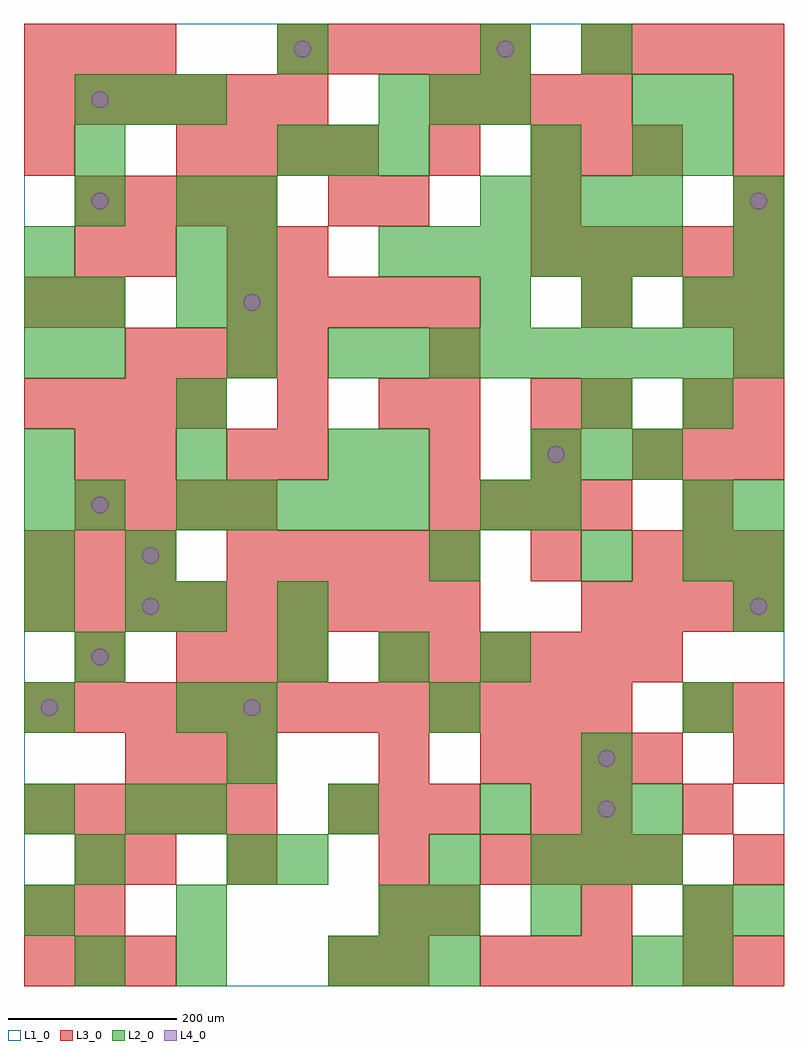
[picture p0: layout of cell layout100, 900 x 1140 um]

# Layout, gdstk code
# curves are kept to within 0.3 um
import gdstk
lib = gdstk.Library(unit=1e-6, precision=1e-09)
def R(c, l, rs):  # rectangles x0, y0, x1, y1
    for r in rs: c.add(gdstk.rectangle(r[:2], r[2:], *l))
def A(c, l, x, y, w, h, nx, ny, dx, dy):  # array of equal rectangles
    R(c, l, [(x+i*dx, y+j*dy, x+i*dx+w, y+j*dy+h) for i in range(nx) for j in range(ny)])
def P(c, l, *ps):  # polygons
    for p in ps: c.add(gdstk.Polygon(p, *l))
L1_0 = (1, 0)
L2_0 = (2, 0)
L3_0 = (3, 0)
L4_0 = (4, 0)

layout100 = lib.new_cell('layout100')
R(layout100, L1_0, [(0,0,900,1140)])
A(layout100, L2_0, 360, 0, 60, 60, 3, 1, 60, 0)
A(layout100, L2_0, 0, 60, 60, 60, 1, 4, 0, 120)
A(layout100, L2_0, 480, 120, 60, 60, 1, 3, 0, 180)
A(layout100, L2_0, 600, 120, 60, 60, 3, 2, 60, 480)
A(layout100, L2_0, 180, 180, 60, 60, 3, 1, 180, 0)
A(layout100, L2_0, 60, 360, 60, 60, 1, 3, 0, 180)
A(layout100, L2_0, 300, 360, 60, 60, 3, 1, 120, 0)
A(layout100, L2_0, 840, 420, 60, 60, 1, 3, 0, 60)
A(layout100, L2_0, 180, 540, 60, 60, 5, 1, 60, 0)
A(layout100, L2_0, 0, 600, 60, 60, 3, 1, 180, 0)
A(layout100, L2_0, 0, 720, 60, 60, 1, 3, 0, 60)
A(layout100, L2_0, 240, 720, 60, 60, 1, 4, 0, 60)
A(layout100, L2_0, 360, 720, 60, 60, 9, 1, 60, 0)
A(layout100, L2_0, 180, 780, 60, 60, 1, 3, 0, 60)
A(layout100, L2_0, 540, 780, 60, 60, 3, 1, 120, 0)
A(layout100, L2_0, 840, 780, 60, 60, 1, 3, 0, 60)
A(layout100, L2_0, 420, 840, 60, 60, 6, 1, 60, 0)
A(layout100, L2_0, 540, 900, 60, 60, 4, 1, 60, 0)
A(layout100, L2_0, 300, 960, 60, 60, 3, 1, 60, 0)
A(layout100, L2_0, 60, 1020, 60, 60, 3, 1, 60, 0)
A(layout100, L2_0, 420, 1020, 60, 60, 3, 1, 60, 0)
R(layout100, L2_0, [(60,0,120,60), (180,0,240,60), (720,0,780,60), (780,0,840,60), (180,60,240,120), (420,60,480,120), (480,60,540,120), (600,60,660,120), (780,60,840,120), (840,60,900,120), (60,120,120,180), (240,120,300,180), (300,120,360,180), (120,180,180,240), (660,180,720,240), (720,180,780,240), (240,240,300,300), (660,240,720,300), (180,300,240,360), (240,300,300,360), (780,300,840,360), (120,420,180,480), (180,420,240,480), (300,420,360,480), (0,480,60,540), (120,480,180,540), (660,480,720,540), (780,480,840,540), (0,540,60,600), (540,540,600,600), (600,540,660,600), (780,540,840,600), (420,600,480,660), (180,660,240,720), (660,660,720,720), (780,660,840,720), (60,780,120,840), (60,900,120,960), (60,960,120,1020), (600,960,660,1020), (720,960,780,1020), (780,960,840,1020), (720,1020,780,1080), (780,1020,840,1080), (300,1080,360,1140), (540,1080,600,1140), (660,1080,720,1140)])
A(layout100, L3_0, 0, 0, 60, 60, 3, 2, 60, 480)
A(layout100, L3_0, 420, 0, 60, 60, 1, 3, 0, 60)
A(layout100, L3_0, 540, 0, 60, 60, 3, 1, 60, 0)
A(layout100, L3_0, 840, 0, 60, 60, 1, 3, 0, 120)
A(layout100, L3_0, 780, 60, 60, 60, 1, 3, 0, 120)
A(layout100, L3_0, 60, 120, 60, 60, 1, 3, 0, 240)
A(layout100, L3_0, 540, 120, 60, 60, 4, 2, 60, 120)
A(layout100, L3_0, 0, 180, 60, 60, 5, 1, 60, 0)
A(layout100, L3_0, 360, 180, 60, 60, 3, 1, 60, 0)
A(layout100, L3_0, 120, 240, 60, 60, 3, 1, 60, 0)
A(layout100, L3_0, 0, 300, 60, 60, 12, 1, 60, 0)
A(layout100, L3_0, 180, 360, 60, 60, 3, 1, 60, 0)
A(layout100, L3_0, 420, 360, 60, 60, 6, 1, 60, 0)
A(layout100, L3_0, 0, 420, 60, 60, 9, 1, 60, 0)
A(layout100, L3_0, 660, 420, 60, 60, 4, 2, 60, 660)
A(layout100, L3_0, 240, 480, 60, 60, 5, 2, 60, 300)
A(layout100, L3_0, 720, 480, 60, 60, 3, 1, 60, 0)
A(layout100, L3_0, 60, 540, 60, 60, 4, 2, 60, 360)
A(layout100, L3_0, 480, 540, 60, 60, 4, 2, 60, 480)
A(layout100, L3_0, 780, 540, 60, 60, 1, 3, 0, 60)
A(layout100, L3_0, 480, 600, 60, 60, 3, 1, 120, 0)
A(layout100, L3_0, 840, 600, 60, 60, 1, 4, 0, 60)
A(layout100, L3_0, 0, 660, 60, 60, 4, 1, 60, 0)
A(layout100, L3_0, 120, 720, 60, 60, 4, 1, 60, 0)
A(layout100, L3_0, 600, 840, 60, 60, 5, 1, 60, 0)
A(layout100, L3_0, 840, 900, 60, 60, 1, 3, 0, 60)
A(layout100, L3_0, 180, 960, 60, 60, 4, 1, 60, 0)
A(layout100, L3_0, 600, 960, 60, 60, 3, 1, 60, 0)
A(layout100, L3_0, 0, 1020, 60, 60, 6, 1, 60, 0)
A(layout100, L3_0, 0, 1080, 60, 60, 3, 1, 60, 0)
A(layout100, L3_0, 300, 1080, 60, 60, 5, 1, 60, 0)
R(layout100, L3_0, [(360,0,420,60), (780,0,840,60), (0,60,60,120), (60,60,120,120), (480,60,540,120), (660,60,720,120), (120,120,180,180), (240,120,300,180), (600,180,660,240), (660,180,720,240), (420,240,480,300), (840,300,900,360), (600,480,660,540), (120,600,180,660), (240,600,300,660), (300,600,360,660), (300,660,360,720), (420,660,480,720), (480,660,540,720), (600,660,660,720), (660,660,720,720), (480,720,540,780), (0,780,60,840), (60,780,120,840), (660,780,720,840), (780,780,840,840), (60,840,120,900), (120,840,180,900), (240,840,300,900), (300,840,360,900), (360,900,420,960), (420,900,480,960), (600,900,660,960), (0,960,60,1020), (480,960,540,1020)])
P(layout100, L4_0, [(40,330),(39.239,333.827),(37.071,337.071),(33.827,339.239),(30,340),(26.173,339.239),(22.929,337.071),(20.761,333.827),(20,330),(20.761,326.173),(22.929,322.929),(26.173,320.761),(30,320),(33.827,320.761),(37.071,322.929),(39.239,326.173)],
  [(100,390),(99.239,393.827),(97.071,397.071),(93.827,399.239),(90,400),(86.173,399.239),(82.929,397.071),(80.761,393.827),(80,390),(80.761,386.173),(82.929,382.929),(86.173,380.761),(90,380),(93.827,380.761),(97.071,382.929),(99.239,386.173)],
  [(100,570),(99.239,573.827),(97.071,577.071),(93.827,579.239),(90,580),(86.173,579.239),(82.929,577.071),(80.761,573.827),(80,570),(80.761,566.173),(82.929,562.929),(86.173,560.761),(90,560),(93.827,560.761),(97.071,562.929),(99.239,566.173)],
  [(100,930),(99.239,933.827),(97.071,937.071),(93.827,939.239),(90,940),(86.173,939.239),(82.929,937.071),(80.761,933.827),(80,930),(80.761,926.173),(82.929,922.929),(86.173,920.761),(90,920),(93.827,920.761),(97.071,922.929),(99.239,926.173)],
  [(100,1050),(99.239,1053.827),(97.071,1057.071),(93.827,1059.239),(90,1060),(86.173,1059.239),(82.929,1057.071),(80.761,1053.827),(80,1050),(80.761,1046.173),(82.929,1042.929),(86.173,1040.761),(90,1040),(93.827,1040.761),(97.071,1042.929),(99.239,1046.173)],
  [(160,450),(159.239,453.827),(157.071,457.071),(153.827,459.239),(150,460),(146.173,459.239),(142.929,457.071),(140.761,453.827),(140,450),(140.761,446.173),(142.929,442.929),(146.173,440.761),(150,440),(153.827,440.761),(157.071,442.929),(159.239,446.173)],
  [(160,510),(159.239,513.827),(157.071,517.071),(153.827,519.239),(150,520),(146.173,519.239),(142.929,517.071),(140.761,513.827),(140,510),(140.761,506.173),(142.929,502.929),(146.173,500.761),(150,500),(153.827,500.761),(157.071,502.929),(159.239,506.173)],
  [(280,330),(279.239,333.827),(277.071,337.071),(273.827,339.239),(270,340),(266.173,339.239),(262.929,337.071),(260.761,333.827),(260,330),(260.761,326.173),(262.929,322.929),(266.173,320.761),(270,320),(273.827,320.761),(277.071,322.929),(279.239,326.173)],
  [(280,810),(279.239,813.827),(277.071,817.071),(273.827,819.239),(270,820),(266.173,819.239),(262.929,817.071),(260.761,813.827),(260,810),(260.761,806.173),(262.929,802.929),(266.173,800.761),(270,800),(273.827,800.761),(277.071,802.929),(279.239,806.173)],
  [(340,1110),(339.239,1113.827),(337.071,1117.071),(333.827,1119.239),(330,1120),(326.173,1119.239),(322.929,1117.071),(320.761,1113.827),(320,1110),(320.761,1106.173),(322.929,1102.929),(326.173,1100.761),(330,1100),(333.827,1100.761),(337.071,1102.929),(339.239,1106.173)],
  [(580,1110),(579.239,1113.827),(577.071,1117.071),(573.827,1119.239),(570,1120),(566.173,1119.239),(562.929,1117.071),(560.761,1113.827),(560,1110),(560.761,1106.173),(562.929,1102.929),(566.173,1100.761),(570,1100),(573.827,1100.761),(577.071,1102.929),(579.239,1106.173)],
  [(640,630),(639.239,633.827),(637.071,637.071),(633.827,639.239),(630,640),(626.173,639.239),(622.929,637.071),(620.761,633.827),(620,630),(620.761,626.173),(622.929,622.929),(626.173,620.761),(630,620),(633.827,620.761),(637.071,622.929),(639.239,626.173)],
  [(700,210),(699.239,213.827),(697.071,217.071),(693.827,219.239),(690,220),(686.173,219.239),(682.929,217.071),(680.761,213.827),(680,210),(680.761,206.173),(682.929,202.929),(686.173,200.761),(690,200),(693.827,200.761),(697.071,202.929),(699.239,206.173)],
  [(700,270),(699.239,273.827),(697.071,277.071),(693.827,279.239),(690,280),(686.173,279.239),(682.929,277.071),(680.761,273.827),(680,270),(680.761,266.173),(682.929,262.929),(686.173,260.761),(690,260),(693.827,260.761),(697.071,262.929),(699.239,266.173)],
  [(880,450),(879.239,453.827),(877.071,457.071),(873.827,459.239),(870,460),(866.173,459.239),(862.929,457.071),(860.761,453.827),(860,450),(860.761,446.173),(862.929,442.929),(866.173,440.761),(870,440),(873.827,440.761),(877.071,442.929),(879.239,446.173)],
  [(880,930),(879.239,933.827),(877.071,937.071),(873.827,939.239),(870,940),(866.173,939.239),(862.929,937.071),(860.761,933.827),(860,930),(860.761,926.173),(862.929,922.929),(866.173,920.761),(870,920),(873.827,920.761),(877.071,922.929),(879.239,926.173)])

lib.write_gds('layout100.gds')
